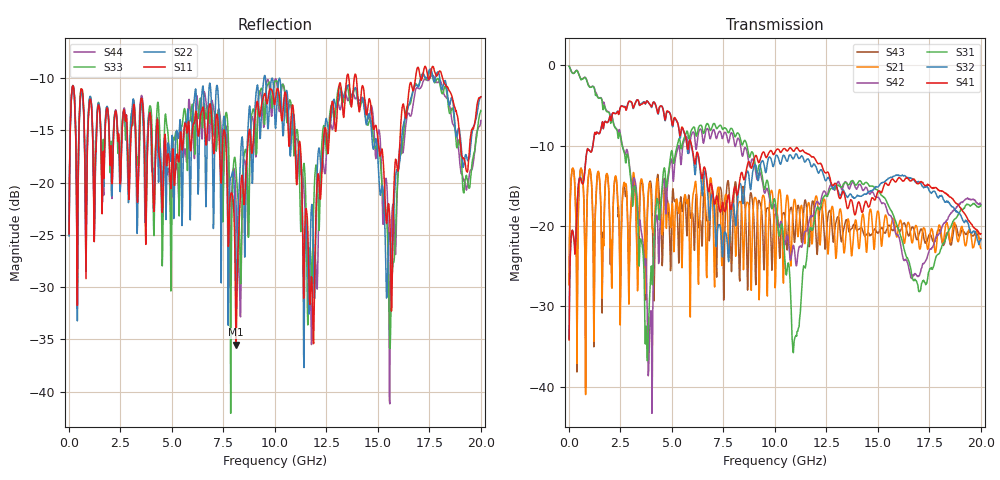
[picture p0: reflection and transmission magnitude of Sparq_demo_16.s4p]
# MHz MA S R 50.0
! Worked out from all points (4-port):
!   1000 points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, 20 MHz to 20 GHz, reference 50 ohm
!   strongest paths, dB at 20 MHz, 5.02 GHz, 10.02 GHz, 15.02 GHz, 20 GHz:
!     S41: -34.2, -7.4, -10.8, -15.7, -21.0
!     S32: -34.1, -7.5, -11.5, -15.1, -21.7
!     S31: -0.1, -10.7, -16.9, -15.7, -17.4
!     S42: -0.1, -12.3, -17.9, -16.5, -17.3
!     S21: -27.3, -17.3, -27.7, -18.2, -22.8
!     S43: -27.3, -16.9, -18.6, -20.9, -21.6
!   lowest |S11| = -35.5 dB at 8.12 GHz (marker M1), VSWR 1.03, Z = 51.4 - j0.896 ohm
!   |S11| at or under -10 dB: start of sweep to 13.49 GHz; 13.96 GHz to 16.83 GHz (2.87 GHz wide, 18.6 % of centre); 18.14 GHz to end of sweep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
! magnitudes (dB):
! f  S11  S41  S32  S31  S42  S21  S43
! 20 MHz  -24.9  -34.2  -34.1  -0.1  -0.1  -27.3  -27.3
! 3.96 GHz  -13.4  -5.0  -5.0  -27.0  -31.2  -14.8  -14.4
! 4.92 GHz  -19.4  -6.0  -6.0  -11.8  -12.3  -19.6  -23.6
! 8.12 GHz  -35.5  -15.7  -19.7  -8.7  -9.9  -23.3  -14.9
! 10.94 GHz  -14.1  -10.7  -11.5  -34.3  -22.7  -16.8  -21.8
! 15.62 GHz  -27.1  -14.4  -14.0  -18.0  -18.7  -20.3  -20.2
! 20 GHz  -11.8  -21.0  -21.7  -17.4  -17.3  -22.8  -21.6
